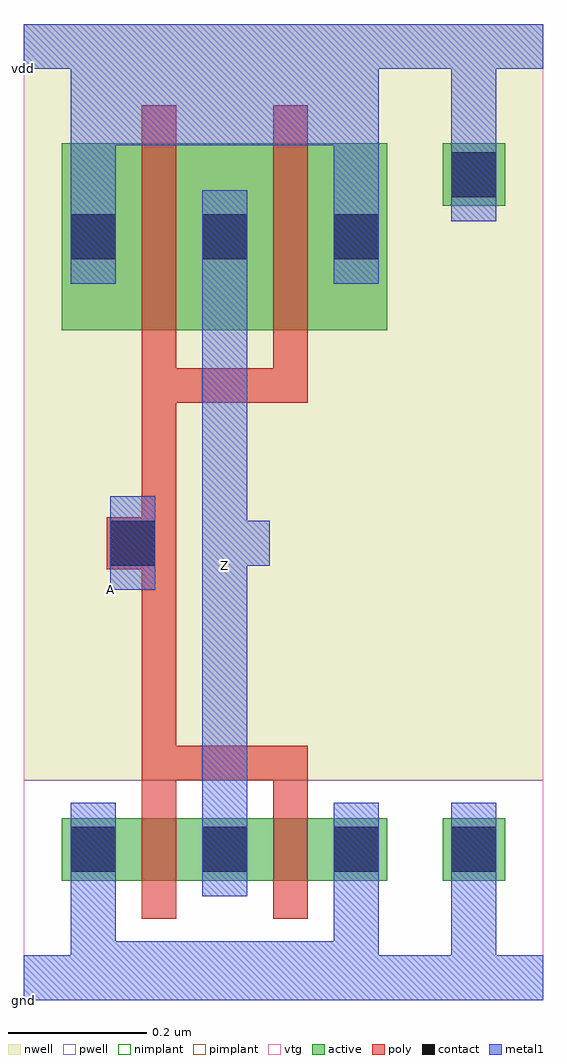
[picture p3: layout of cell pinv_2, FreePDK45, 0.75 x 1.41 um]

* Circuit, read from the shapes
.subckt pinv_2 A Z gnd vdd
M1 Z A gnd gnd nfet w=0.09u l=0.05u m=2
M2 Z A vdd vdd pfet w=0.27u l=0.05u m=2
.ends

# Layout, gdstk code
import gdstk
lib = gdstk.Library(unit=1e-6, precision=5e-10)
def R(c, l, rs):  # rectangles x0, y0, x1, y1
    for r in rs: c.add(gdstk.rectangle(r[:2], r[2:], *l))
active = (1, 0)
pwell = (2, 0)
nwell = (3, 0)
nimplant = (4, 0)
pimplant = (5, 0)
vtg = (6, 0)
poly = (9, 0)
contact = (10, 0)
metal1 = (11, 0)

active_contact_metal1_1x = lib.new_cell('active_contact_metal1_1x1_pn')
R(active_contact_metal1_1x, active, [(0,0.0225,0.09,0.1125), (0,0.0225,0.09,0.1125)])
R(active_contact_metal1_1x, nwell, [(-0.055,-0.0325,0.145,0.1675), (-0.055,-0.0325,0.145,0.1675)])
R(active_contact_metal1_1x, pimplant, [(0,0.0225,0.09,0.1125), (0,0.0225,0.09,0.1125)])
R(active_contact_metal1_1x, contact, [(0.0125,0.035,0.0775,0.1), (0.0125,0.035,0.0775,0.1)])
R(active_contact_metal1_1x, metal1, [(0.0125,0,0.0775,0.135), (0.0125,0,0.0775,0.135)])

pmos_m2_w0_27_a_p = lib.new_cell('pmos_m2_w0_27_a_p')
R(pmos_m2_w0_27_a_p, active, [(0,0,0.47,0.27)])
R(pmos_m2_w0_27_a_p, nwell, [(-0.055,-0.055,0.525,0.325)])
R(pmos_m2_w0_27_a_p, pimplant, [(0,0,0.47,0.27)])
R(pmos_m2_w0_27_a_p, vtg, [(-0.055,-0.055,0.525,0.325)])
R(pmos_m2_w0_27_a_p, poly, [(0.115,-0.105,0.355,-0.055), (0.115,-0.055,0.165,0.325), (0.305,-0.055,0.355,0.325)])
R(pmos_m2_w0_27_a_p, metal1, [(0.2025,0.0675,0.2675,0.2025), (0.0125,0.135,0.0775,0.3), (0.3925,0.135,0.4575,0.3), (0.0125,0.2675,0.4575,0.3325)])
pmos_m2_w0_27_a_p.add(gdstk.Reference(active_contact_metal1_1x, (0,0.0675)))
pmos_m2_w0_27_a_p.add(gdstk.Reference(active_contact_metal1_1x, (0.38,0.0675)))
pmos_m2_w0_27_a_p.add(gdstk.Reference(active_contact_metal1_1x, (0.19,0.0675)))
pmos_m2_w0_27_a_p.add(gdstk.Label('S', (0.0125,0.2675), layer=11, texttype=0))
pmos_m2_w0_27_a_p.add(gdstk.Label('D', (0.2025,0.0675), layer=11, texttype=0))
pmos_m2_w0_27_a_p.add(gdstk.Label('G', (0.115,-0.105), layer=9, texttype=0))

c_active_contact_metal1_1x = lib.new_cell('active_contact_metal1_1x1_np')
R(c_active_contact_metal1_1x, active, [(0,0.0225,0.09,0.1125)])
R(c_active_contact_metal1_1x, pwell, [(-0.055,-0.0325,0.145,0.1675)])
R(c_active_contact_metal1_1x, nimplant, [(0,0.0225,0.09,0.1125)])
R(c_active_contact_metal1_1x, contact, [(0.0125,0.035,0.0775,0.1)])
R(c_active_contact_metal1_1x, metal1, [(0.0125,0,0.0775,0.135)])

nmos_m2_w0_09_a_p = lib.new_cell('nmos_m2_w0_09_a_p')
R(nmos_m2_w0_09_a_p, active, [(0,0,0.47,0.09)])
R(nmos_m2_w0_09_a_p, pwell, [(-0.055,-0.055,0.525,0.145)])
R(nmos_m2_w0_09_a_p, nimplant, [(0,0,0.47,0.09)])
R(nmos_m2_w0_09_a_p, vtg, [(-0.055,-0.055,0.525,0.145)])
R(nmos_m2_w0_09_a_p, poly, [(0.115,-0.055,0.165,0.145), (0.305,-0.055,0.355,0.145), (0.115,0.145,0.355,0.195)])
R(nmos_m2_w0_09_a_p, metal1, [(0.0125,-0.1525,0.4575,-0.0875), (0.0125,-0.12,0.0775,0.045), (0.3925,-0.12,0.4575,0.045), (0.2025,-0.0225,0.2675,0.1125)])
nmos_m2_w0_09_a_p.add(gdstk.Reference(c_active_contact_metal1_1x, (0,-0.0225)))
nmos_m2_w0_09_a_p.add(gdstk.Reference(c_active_contact_metal1_1x, (0.38,-0.0225)))
nmos_m2_w0_09_a_p.add(gdstk.Reference(c_active_contact_metal1_1x, (0.19,-0.0225)))
nmos_m2_w0_09_a_p.add(gdstk.Label('S', (0.0125,-0.1525), layer=11, texttype=0))
nmos_m2_w0_09_a_p.add(gdstk.Label('D', (0.2025,-0.0225), layer=11, texttype=0))
nmos_m2_w0_09_a_p.add(gdstk.Label('G', (0.115,0.145), layer=9, texttype=0))

c_active_contact_metal1_1x_ = lib.new_cell('active_contact_metal1_1x1_nn')
R(c_active_contact_metal1_1x_, active, [(0,0.0225,0.09,0.1125), (0,0.0225,0.09,0.1125)])
R(c_active_contact_metal1_1x_, nwell, [(-0.055,-0.0325,0.145,0.1675), (-0.055,-0.0325,0.145,0.1675)])
R(c_active_contact_metal1_1x_, nimplant, [(0,0.0225,0.09,0.1125), (0,0.0225,0.09,0.1125)])
R(c_active_contact_metal1_1x_, contact, [(0.0125,0.035,0.0775,0.1), (0.0125,0.035,0.0775,0.1)])
R(c_active_contact_metal1_1x_, metal1, [(0.0125,0,0.0775,0.135), (0.0125,0,0.0775,0.135)])

c_active_contact_metal1_1x__ = lib.new_cell('active_contact_metal1_1x1_pp')
R(c_active_contact_metal1_1x__, active, [(0,0.0225,0.09,0.1125)])
R(c_active_contact_metal1_1x__, pwell, [(-0.055,-0.0325,0.145,0.1675)])
R(c_active_contact_metal1_1x__, pimplant, [(0,0.0225,0.09,0.1125)])
R(c_active_contact_metal1_1x__, contact, [(0.0125,0.035,0.0775,0.1)])
R(c_active_contact_metal1_1x__, metal1, [(0.0125,0,0.0775,0.135)])

poly_contact_metal1_1x1 = lib.new_cell('poly_contact_metal1_1x1')
R(poly_contact_metal1_1x1, poly, [(0,0.03,0.075,0.105), (0,0.03,0.075,0.105)])
R(poly_contact_metal1_1x1, contact, [(0.005,0.035,0.07,0.1), (0.005,0.035,0.07,0.1)])
R(poly_contact_metal1_1x1, metal1, [(0.005,0,0.07,0.135), (0.005,0,0.07,0.135)])

pinv_2 = lib.new_cell('pinv_2')
R(pinv_2, pwell, [(0,-0.0325,0.75,0.285)])
R(pinv_2, nwell, [(0,0.285,0.75,1.3775)])
R(pinv_2, vtg, [(0,-0.0325,0.75,0.285), (0,0.285,0.75,1.3775)])
R(pinv_2, poly, [(0.17,0.285,0.22,0.83), (0.1575,0.59,0.17,0.665)])
R(pinv_2, metal1, [(0,-0.0325,0.75,0.0325), (0.6175,0,0.6825,0.185), (0.2575,0.1175,0.3225,1.0025), (0.125,0.56,0.19,0.695), (0.29,0.595,0.355,0.66), (0.6175,1.16,0.6825,1.345), (0.0675,1.2025,0.5125,1.3775), (0,1.3125,0.75,1.3775)])
pinv_2.add(gdstk.Reference(pmos_m2_w0_27_a_p, (0.055,0.935)))
pinv_2.add(gdstk.Reference(nmos_m2_w0_09_a_p, (0.055,0.14)))
pinv_2.add(gdstk.Reference(c_active_contact_metal1_1x_, (0.605,1.0925)))
pinv_2.add(gdstk.Reference(c_active_contact_metal1_1x__, (0.605,0.1175)))
pinv_2.add(gdstk.Reference(poly_contact_metal1_1x1, (0.12,0.56)))
pinv_2.add(gdstk.Label('A', (0.125,0.56), layer=11, texttype=0))
pinv_2.add(gdstk.Label('Z', (0.29,0.595), layer=11, texttype=0))
pinv_2.add(gdstk.Label('vdd', (0,1.3125), layer=11, texttype=0))
pinv_2.add(gdstk.Label('gnd', (0,-0.0325), layer=11, texttype=0))

lib.write_gds('pinv_2.gds')
